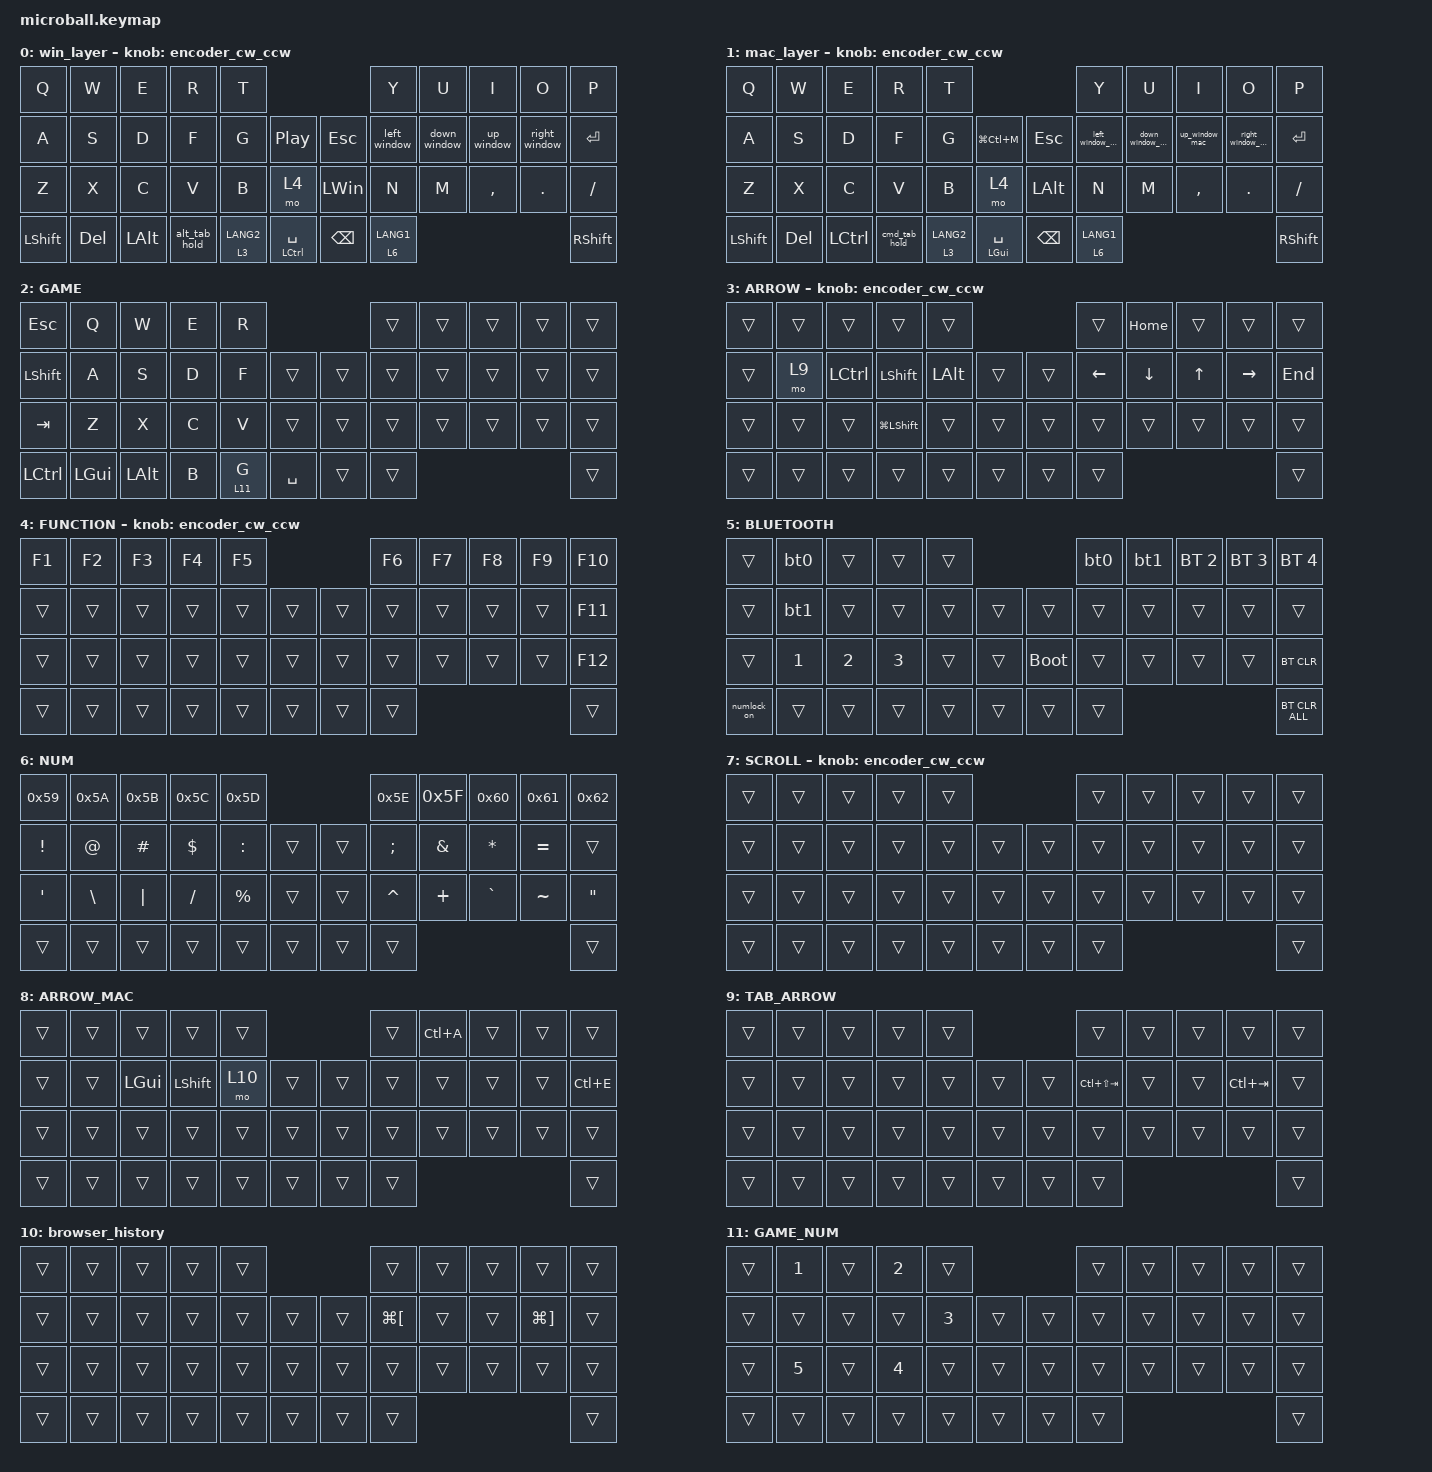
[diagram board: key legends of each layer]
#include <behaviors.dtsi>
#include <dt-bindings/zmk/bt.h>
#include <dt-bindings/zmk/keys.h>
#include <dt-bindings/zmk/pointing.h>

&mt {
    flavor = "balanced";
    quick-tap-ms = <200>;
};

&lt {
    flavor = "balanced";
    quick-tap-ms = <200>;
};

/ {
    combos {
        compatible = "zmk,combos";

        tab {
            bindings = <&kp TAB>;
            key-positions = <11 10>;
            layers = <0 1 4 3 5 6 7 8 9 10>;
        };

        tg-win {
            bindings = <&bt0>;
            key-positions = <0 34>;
        };

        tg-mac {
            bindings = <&bt1>;
            key-positions = <9 42>;
        };

        bootcombo {
            bindings = <&bootloader>;
            key-positions = <9 5 0 4>;
        };

        bluetoothe_layer_active {
            bindings = <&mo 5>;
            key-positions = <0 4>;
        };

        minus {
            bindings = <&kp MINUS>;
            key-positions = <8 9>;
        };

        game_toggle {
            bindings = <&tog 2>;
            key-positions = <7 18 20>;
        };

        mouse-button1 {
            bindings = <&mkp MB1>;
            key-positions = <18 19>;
            timeout-ms = <200>;
        };

        mouse-button2 {
            bindings = <&mkp MB2>;
            key-positions = <20 21>;
            timeout-ms = <200>;
        };

        mouse-button3 {
            bindings = <&lt_scroll 7 MB3>;
            key-positions = <20 19>;
            timeout-ms = <200>;
            layers = <0 1 2 3 4 5 7 8 9 10 11>;
        };

        under {
            bindings = <&kp UNDERSCORE>;
            key-positions = <32 33>;
            timeout-ms = <200>;
        };

        left-brace {
            bindings = <&kp LEFT_BRACE>;
            key-positions = <1 2>;
            timeout-ms = <100>;
            layers = <6>;
        };

        left-bracket {
            bindings = <&kp LEFT_BRACKET>;
            key-positions = <23 24>;
            timeout-ms = <100>;
            layers = <6>;
        };

        right-bracket {
            bindings = <&kp RIGHT_BRACKET>;
            key-positions = <31 32>;
            timeout-ms = <100>;
            layers = <6>;
        };

        right-brace {
            bindings = <&kp RIGHT_BRACE>;
            key-positions = <7 8>;
            timeout-ms = <100>;
            layers = <6>;
        };

        left-parenthesis {
            bindings = <&kp LEFT_PARENTHESIS>;
            key-positions = <12 11>;
            timeout-ms = <100>;
            layers = <6>;
        };

        right-parenthesis {
            bindings = <&kp RIGHT_PARENTHESIS>;
            key-positions = <19 20>;
            timeout-ms = <100>;
            layers = <6>;
        };
    };

    macros {
        to_layer_0: to_layer_0 {
            compatible = "zmk,behavior-macro-one-param";
            #binding-cells = <1>;
            bindings = <&to 0 &macro_param_1to1 &kp MACRO_PLACEHOLDER>;
            label = "TO_LAYER_0";
        };

        bt0: bt0 {
            compatible = "zmk,behavior-macro";
            #binding-cells = <0>;
            bindings =
                <&tog_off 1>,
                <&macro_wait_time 200>,
                <&bt BT_SEL 0>,
                <&macro_wait_time 500>;

            label = "BT0";
        };

        bt1: bt1 {
            compatible = "zmk,behavior-macro";
            #binding-cells = <0>;
            bindings =
                <&tog_off 1>,
                <&macro_wait_time 200>,
                <&bt BT_SEL 1>,
                <&macro_wait_time 500>,
                <&tog_on 1>;

            label = "BT1";
        };

        ime_toggle: ime_toggle {
            compatible = "zmk,behavior-macro";
            #binding-cells = <0>;
            bindings =
                <&macro_press>,
                <&kp LALT>,
                <&macro_tap>,
                <&kp GRAVE>,
                <&macro_release>,
                <&kp LALT>;

            label = "IME_TOGGLE";
        };

        alt_tab_hold: alt_tab_hold {
            compatible = "zmk,behavior-macro";
            #binding-cells = <0>;
            bindings =
                <&macro_press>,
                <&kp LALT>,
                <&macro_tap>,
                <&kp TAB>,
                <&macro_pause_for_release>,
                <&macro_release>,
                <&kp LALT>;

            label = "ALT_TAB_HOLD";
        };

        cmd_tab_hold: cmd_tab_hold {
            compatible = "zmk,behavior-macro";
            #binding-cells = <0>;
            bindings =
                <&macro_press>,
                <&kp LCMD>,
                <&macro_tap>,
                <&kp TAB>,
                <&macro_pause_for_release>,
                <&macro_release>,
                <&kp LCMD>;

            label = "CMD_TAB_HOLD";
        };

        param: new_macro {
            compatible = "zmk,behavior-macro-one-param";
            #binding-cells = <1>;
            bindings = <&macro_param_1to1 &kp MACRO_PLACEHOLDER>;
            label = "NEW_MACRO";
        };

        numlock_on: numlock_on {
            compatible = "zmk,behavior-macro";
            #binding-cells = <0>;
            bindings = <&kp KP_NUM>;
            label = "NUMLOCK_ON";
        };

        control_tab_hold: control_tab_hold {
            compatible = "zmk,behavior-macro";
            #binding-cells = <0>;
            bindings =
                <&macro_press>,
                <&kp LEFT_CONTROL>,
                <&macro_tap>,
                <&kp TAB>,
                <&macro_pause_for_release>,
                <&macro_release>,
                <&kp LEFT_CONTROL>;

            label = "CONTROL_TAB_HOLD";
        };
    };

    behaviors {
        encoder_cw_ccw: encoder_cw_ccw {
            compatible = "microball,behavior-discrete-scroll";
            #sensor-binding-cells = <0>;
            cw-delta = <(-1)>;
            ccw-delta = <1>;

            label = "encoder_cw_ccw";
        };

        tog_on: toggle_layer_on_only {
            compatible = "zmk,behavior-toggle-layer";
            #binding-cells = <1>;
            display-name = "Toggle Layer On";
            toggle-mode = "on";
        };

        tog_off: toggle_layer_off_only {
            compatible = "zmk,behavior-toggle-layer";
            #binding-cells = <1>;
            display-name = "Toggle Layer Off";
            toggle-mode = "off";
        };

        lt_scroll: layer_tap_scroll {
            compatible = "zmk,behavior-hold-tap";
            label = "LAYER_TAP_SCROLL";
            #binding-cells = <2>;
            tapping-term-ms = <200>;
            bindings = <&mo>, <&mkp>;
        };

        lt_ime: layer_tap_ime {
            compatible = "zmk,behavior-hold-tap";
            label = "LAYER_TAP_IME";
            #binding-cells = <2>;
            tapping-term-ms = <200>;
            bindings = <&mo>, <&ime_toggle>;
        };

        left_window: left_window {
            compatible = "zmk,behavior-mod-morph";
            label = "LEFT_WINDOW";
            #binding-cells = <0>;
            bindings = <&kp H>, <&kp LS(TAB)>;

            mods = <(MOD_LALT|MOD_LCTL)>;
            keep-mods = <(MOD_LCTL|MOD_LALT)>;
        };

        right_window: right_window {
            compatible = "zmk,behavior-mod-morph";
            label = "RIGHT_WINDOW";
            #binding-cells = <0>;
            bindings = <&kp L>, <&kp TAB>;

            mods = <(MOD_LALT|MOD_LCTL)>;
            keep-mods = <(MOD_LCTL|MOD_LALT)>;
        };

        left_window_mac: left_window_mac {
            compatible = "zmk,behavior-mod-morph";
            label = "LEFT_WINDOW_MAC";
            #binding-cells = <0>;
            bindings = <&kp H>, <&kp LEFT>;

            mods = <(MOD_LGUI|MOD_RCTL)>;
            keep-mods = <(MOD_LGUI|MOD_RCTL)>;
        };

        right_window_mac: right_window_mac {
            compatible = "zmk,behavior-mod-morph";
            label = "RIGHT_WINDOW_MAC";
            #binding-cells = <0>;
            bindings = <&kp L>, <&kp RIGHT>;

            mods = <(MOD_LGUI)>;
            keep-mods = <(MOD_LGUI)>;
        };

        up_window: up_window {
            compatible = "zmk,behavior-mod-morph";
            label = "UP_WINDOW";
            #binding-cells = <0>;
            bindings = <&kp K>, <&kp UP_ARROW>;

            mods = <(MOD_LALT)>;
            keep-mods = <(MOD_LALT)>;
        };

        down_window: down_window {
            compatible = "zmk,behavior-mod-morph";
            label = "DOWN_WINDOW";
            #binding-cells = <0>;
            bindings = <&kp J>, <&kp DOWN>;

            mods = <(MOD_LALT)>;
            keep-mods = <(MOD_LALT)>;
        };

        up_window_mac: up_window_mac {
            compatible = "zmk,behavior-mod-morph";
            label = "UP_WINDOW_MAC";
            #binding-cells = <0>;
            bindings = <&kp K>, <&kp UP_ARROW>;

            mods = <(MOD_RCTL|MOD_LGUI)>;
            keep-mods = <(MOD_LGUI|MOD_RCTL)>;
        };

        down_window_mac: down_window_mac {
            compatible = "zmk,behavior-mod-morph";
            label = "DOWN_WINDOW_MAC";
            #binding-cells = <0>;
            bindings = <&kp J>, <&kp DOWN>;

            mods = <(MOD_LGUI|MOD_RCTL)>;
            keep-mods = <(MOD_LGUI|MOD_RCTL)>;
        };
    };

    keymap {
        compatible = "zmk,keymap";

        win_layer {
            bindings = <
&kp Q           &kp W       &kp E         &kp R          &kp T                                            &kp Y         &kp U         &kp I       &kp O          &kp P
&kp A           &kp S       &kp D         &kp F          &kp G        &kp C_PP             &kp ESC        &left_window  &down_window  &up_window  &right_window  &kp ENTER
&kp Z           &kp X       &kp C         &kp V          &kp B        &mo 4                &kp LEFT_WIN   &kp N         &kp M         &kp COMMA   &kp DOT        &kp SLASH
&kp LEFT_SHIFT  &kp DELETE  &kp LEFT_ALT  &alt_tab_hold  &lt 3 LANG2  &mt LCTRL SPACE      &kp BACKSPACE  &lt 6 LANG1                                            &kp RIGHT_SHIFT
            >;

            sensor-bindings = <&encoder_cw_ccw>;
        };

        mac_layer {
            bindings = <
&kp Q           &kp W       &kp E      &kp R          &kp T                                           &kp Y             &kp U             &kp I           &kp O              &kp P
&kp A           &kp S       &kp D      &kp F          &kp G        &kp LG(LC(M))       &kp ESC        &left_window_mac  &down_window_mac  &up_window_mac  &right_window_mac  &kp ENTER
&kp Z           &kp X       &kp C      &kp V          &kp B        &mo 4               &kp LALT       &kp N             &kp M             &kp COMMA       &kp DOT            &kp SLASH
&kp LEFT_SHIFT  &kp DELETE  &kp LCTRL  &cmd_tab_hold  &lt 3 LANG2  &mt LGUI SPACE      &kp BACKSPACE  &lt 6 LANG1                                                            &kp RIGHT_SHIFT
            >;

            sensor-bindings = <&encoder_cw_ccw>;
        };

        GAME {
            bindings = <
&kp ESC    &kp Q     &kp W         &kp E  &kp R                            &trans  &trans  &trans  &trans  &trans
&kp LSHFT  &kp A     &kp S         &kp D  &kp F     &trans         &trans  &trans  &trans  &trans  &trans  &trans
&kp TAB    &kp Z     &kp X         &kp C  &kp V     &trans         &trans  &trans  &trans  &trans  &trans  &trans
&kp LCTRL  &kp LGUI  &kp LEFT_ALT  &kp B  &lt 11 G  &kp SPACE      &trans  &trans                          &trans
            >;
        };

        ARROW {
            bindings = <
&trans  &trans  &trans     &trans              &trans                            &trans    &kp HOME  &trans        &trans     &trans
&trans  &mo 9   &kp LCTRL  &kp LSHFT           &kp LEFT_ALT  &trans      &trans  &kp LEFT  &kp DOWN  &kp UP_ARROW  &kp RIGHT  &kp END
&trans  &trans  &trans     &kp LG(LEFT_SHIFT)  &trans        &trans      &trans  &trans    &trans    &trans        &trans     &trans
&trans  &trans  &trans     &trans              &trans        &trans      &trans  &trans                                       &trans
            >;

            sensor-bindings = <&encoder_cw_ccw>;
        };

        FUNCTION {
            bindings = <
&kp F1  &kp F2  &kp F3  &kp F4  &kp F5                      &kp F6  &kp F7  &kp F8  &kp F9  &kp F10
&trans  &trans  &trans  &trans  &trans  &trans      &trans  &trans  &trans  &trans  &trans  &kp F11
&trans  &trans  &trans  &trans  &trans  &trans      &trans  &trans  &trans  &trans  &trans  &kp F12
&trans  &trans  &trans  &trans  &trans  &trans      &trans  &trans                          &trans
            >;

            sensor-bindings = <&encoder_cw_ccw>;
        };

        BLUETOOTH {
            bindings = <
&trans       &bt0          &trans        &trans        &trans                           &bt0    &bt1    &bt BT_SEL 2  &bt BT_SEL 3  &bt BT_SEL 4
&trans       &bt1          &trans        &trans        &trans  &trans      &trans       &trans  &trans  &trans        &trans        &trans
&trans       &kp NUMBER_1  &kp NUMBER_2  &kp NUMBER_3  &trans  &trans      &bootloader  &trans  &trans  &trans        &trans        &bt BT_CLR
&numlock_on  &trans        &trans        &trans        &trans  &trans      &trans       &trans                                      &bt BT_CLR_ALL
            >;
        };

        NUM {
            bindings = <
&kp 0x59          &kp 0x5A       &kp 0x5B  &kp 0x5C    &kp 0x5D                         &kp 0x5E       &kp 0x5F       &kp 0x60      &kp 0x61   &kp 0x62
&kp EXCLAMATION   &kp AT_SIGN    &kp HASH  &kp DOLLAR  &kp COLON    &trans      &trans  &kp SEMICOLON  &kp AMPERSAND  &kp ASTERISK  &kp EQUAL  &trans
&kp SINGLE_QUOTE  &kp BACKSLASH  &kp PIPE  &kp FSLH    &kp PERCENT  &trans      &trans  &kp CARET      &kp PLUS       &kp GRAVE     &kp TILDE  &kp DOUBLE_QUOTES
&trans            &trans         &trans    &trans      &trans       &trans      &trans  &trans                                                 &trans
            >;
        };

        SCROLL {
            bindings = <
&trans  &trans  &trans  &trans  &trans                      &trans  &trans  &trans  &trans  &trans
&trans  &trans  &trans  &trans  &trans  &trans      &trans  &trans  &trans  &trans  &trans  &trans
&trans  &trans  &trans  &trans  &trans  &trans      &trans  &trans  &trans  &trans  &trans  &trans
&trans  &trans  &trans  &trans  &trans  &trans      &trans  &trans                          &trans
            >;

            sensor-bindings = <&encoder_cw_ccw>;
        };

        ARROW_MAC {
            bindings = <
&trans  &trans  &trans        &trans          &trans                      &trans  &kp LC(A)  &trans  &trans  &trans
&trans  &trans  &kp LEFT_GUI  &kp LEFT_SHIFT  &mo 10  &trans      &trans  &trans  &trans     &trans  &trans  &kp LC(E)
&trans  &trans  &trans        &trans          &trans  &trans      &trans  &trans  &trans     &trans  &trans  &trans
&trans  &trans  &trans        &trans          &trans  &trans      &trans  &trans                             &trans
            >;
        };

        TAB_ARROW {
            bindings = <
&trans  &trans  &trans  &trans  &trans                      &trans           &trans  &trans  &trans       &trans
&trans  &trans  &trans  &trans  &trans  &trans      &trans  &kp LC(LS(TAB))  &trans  &trans  &kp LC(TAB)  &trans
&trans  &trans  &trans  &trans  &trans  &trans      &trans  &trans           &trans  &trans  &trans       &trans
&trans  &trans  &trans  &trans  &trans  &trans      &trans  &trans                                        &trans
            >;
        };

        browser_history {
            bindings = <
&trans  &trans  &trans  &trans  &trans                      &trans                &trans  &trans  &trans                 &trans
&trans  &trans  &trans  &trans  &trans  &trans      &trans  &kp LG(LEFT_BRACKET)  &trans  &trans  &kp LG(RIGHT_BRACKET)  &trans
&trans  &trans  &trans  &trans  &trans  &trans      &trans  &trans                &trans  &trans  &trans                 &trans
&trans  &trans  &trans  &trans  &trans  &trans      &trans  &trans                                                       &trans
            >;
        };

        GAME_NUM {
            bindings = <
&trans  &kp N1  &trans  &kp N2  &trans                      &trans  &trans  &trans  &trans  &trans
&trans  &trans  &trans  &trans  &kp N3  &trans      &trans  &trans  &trans  &trans  &trans  &trans
&trans  &kp N5  &trans  &kp N4  &trans  &trans      &trans  &trans  &trans  &trans  &trans  &trans
&trans  &trans  &trans  &trans  &trans  &trans      &trans  &trans                          &trans
            >;
        };
    };

    conditional_layers {
        compatible = "zmk,conditional-layers";

        arrow_mac {
            if-layers = <1 3>;
            then-layer = <8>;
        };
    };
};
